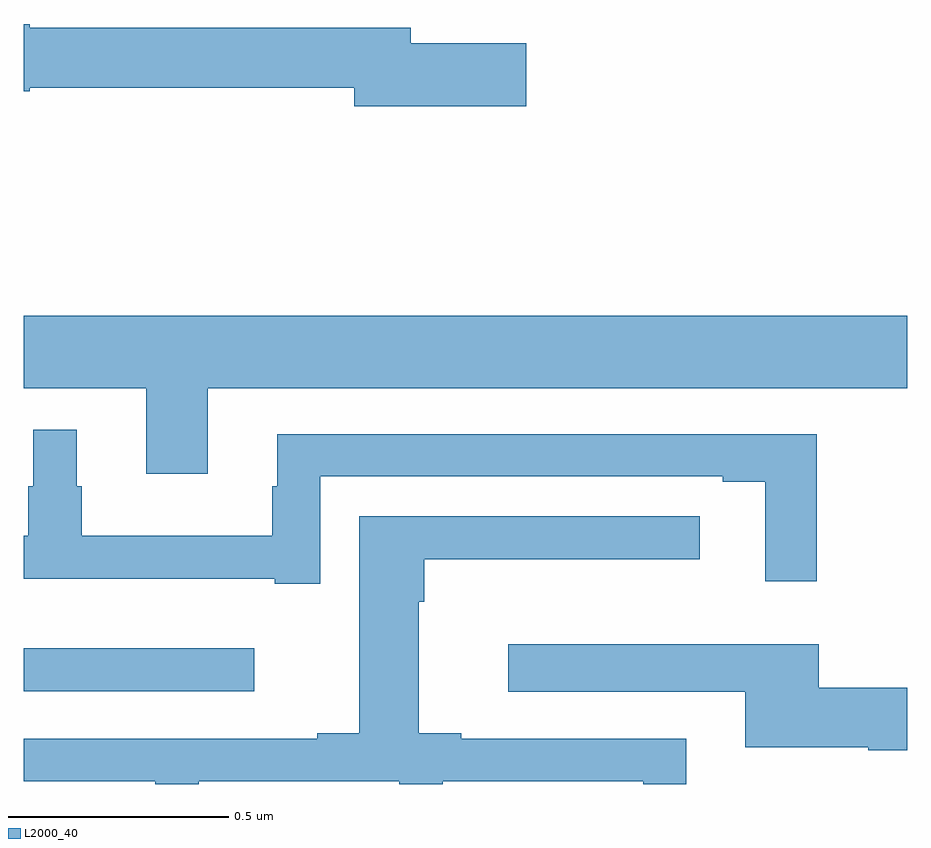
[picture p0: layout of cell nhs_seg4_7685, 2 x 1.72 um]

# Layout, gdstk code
import gdstk
lib = gdstk.Library(unit=1e-6, precision=1e-09)
def R(c, l, rs):  # rectangles x0, y0, x1, y1
    for r in rs: c.add(gdstk.rectangle(r[:2], r[2:], *l))
def P(c, l, *ps):  # polygons
    for p in ps: c.add(gdstk.Polygon(p, *l))
L2000_40 = (2000, 40)

nhs_seg4_7685 = lib.new_cell('nhs_seg4_7685')
R(nhs_seg4_7685, L2000_40, [(205,820.11,205.522,820.207)])
P(nhs_seg4_7685, L2000_40, [(206.137,821.576),(205.876,821.576),(205.876,821.612),(205.014,821.612),(205.014,821.62),(205,821.62),(205,821.468),(205.014,821.468),(205.014,821.476),(205.748,821.476),(205.748,821.434),(206.137,821.434)],
  [(205.417,820.796),(207,820.796),(207,820.96),(205,820.96),(205,820.796),(205.277,820.796),(205.277,820.602),(205.417,820.602)],
  [(205.671,820.596),(206.582,820.596),(206.582,820.584),(206.678,820.584),(206.678,820.359),(206.795,820.359),(206.795,820.692),(205.574,820.692),(205.574,820.574),(205.563,820.574),(205.563,820.462),(205.132,820.462),(205.132,820.574),(205.12,820.574),(205.12,820.702),(205.022,820.702),(205.022,820.574),(205.011,820.574),(205.011,820.462),(205,820.462),(205,820.364),(205.568,820.364),(205.568,820.353),(205.671,820.353)],
  [(205.396,819.906),(205.85,819.906),(205.85,819.9),(205.948,819.9),(205.948,819.906),(206.402,819.906),(206.402,819.9),(206.5,819.9),(206.5,820.002),(205.99,820.002),(205.99,820.015),(205.894,820.015),(205.894,820.313),(205.907,820.313),(205.907,820.409),(206.53,820.409),(206.53,820.506),(205.76,820.506),(205.76,820.015),(205.664,820.015),(205.664,820.002),(205,820.002),(205,819.906),(205.298,819.906),(205.298,819.9),(205.396,819.9)],
  [(207,820.118),(206.8,820.118),(206.8,820.216),(206.097,820.216),(206.097,820.109),(206.633,820.109),(206.633,819.983),(206.912,819.983),(206.912,819.976),(207,819.976)])

lib.write_gds('nhs_seg4_7685.gds')
